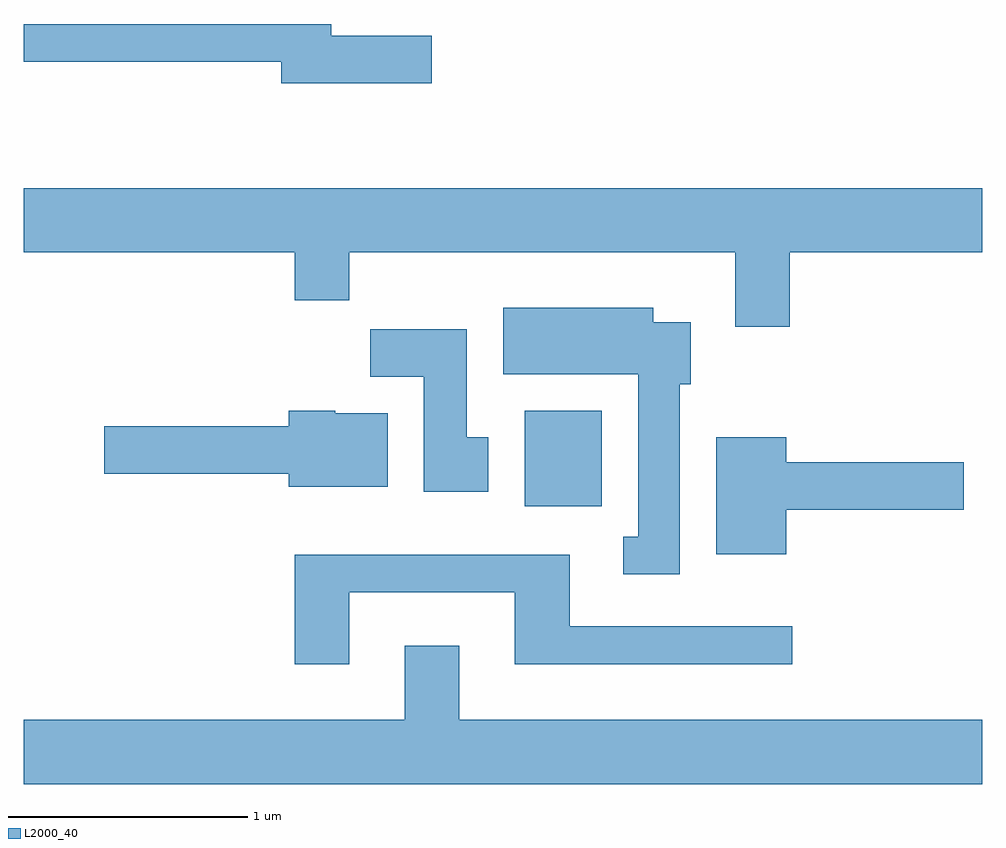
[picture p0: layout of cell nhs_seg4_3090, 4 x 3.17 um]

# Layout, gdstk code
import gdstk
lib = gdstk.Library(unit=1e-6, precision=1e-09)
def R(c, l, rs):  # rectangles x0, y0, x1, y1
    for r in rs: c.add(gdstk.rectangle(r[:2], r[2:], *l))
def P(c, l, *ps):  # polygons
    for p in ps: c.add(gdstk.Polygon(p, *l))
L2000_40 = (2000, 40)

nhs_seg4_3090 = lib.new_cell('nhs_seg4_3090')
R(nhs_seg4_3090, L2000_40, [(277.701,1315.876,278.024,1316.274)])
P(nhs_seg4_3090, L2000_40, [(277.314,1317.839),(276.894,1317.839),(276.894,1317.889),(275.611,1317.889),(275.611,1317.731),(276.686,1317.731),(276.686,1317.641),(277.314,1317.641)],
  [(278.809,1316.936),(279.611,1316.936),(279.611,1317.204),(275.611,1317.204),(275.611,1316.936),(276.741,1316.936),(276.741,1316.736),(276.969,1316.736),(276.969,1316.936),(278.581,1316.936),(278.581,1316.626),(278.809,1316.626)],
  [(278.349,1316.386),(278.394,1316.386),(278.394,1316.644),(278.239,1316.644),(278.239,1316.704),(277.611,1316.704),(277.611,1316.426),(278.176,1316.426),(278.176,1315.749),(278.113,1315.749),(278.113,1315.591),(278.349,1315.591)],
  [(277.549,1316.164),(277.459,1316.164),(277.459,1316.614),(277.056,1316.614),(277.056,1316.416),(277.281,1316.416),(277.281,1315.936),(277.549,1315.936)],
  [(277.129,1316.264),(276.91,1316.264),(276.91,1316.274),(276.716,1316.274),(276.716,1316.209),(275.946,1316.209),(275.946,1316.011),(276.716,1316.011),(276.716,1315.956),(277.129,1315.956)],
  [(278.794,1315.861),(279.534,1315.861),(279.534,1316.059),(278.794,1316.059),(278.794,1316.164),(278.501,1316.164),(278.501,1315.676),(278.794,1315.676)],
  [(276.969,1315.516),(277.661,1315.516),(277.661,1315.216),(278.818,1315.216),(278.818,1315.374),(277.889,1315.374),(277.889,1315.674),(276.741,1315.674),(276.741,1315.216),(276.969,1315.216)],
  [(279.611,1314.984),(277.429,1314.984),(277.429,1315.294),(277.201,1315.294),(277.201,1314.984),(275.611,1314.984),(275.611,1314.716),(279.611,1314.716)])

lib.write_gds('nhs_seg4_3090.gds')
